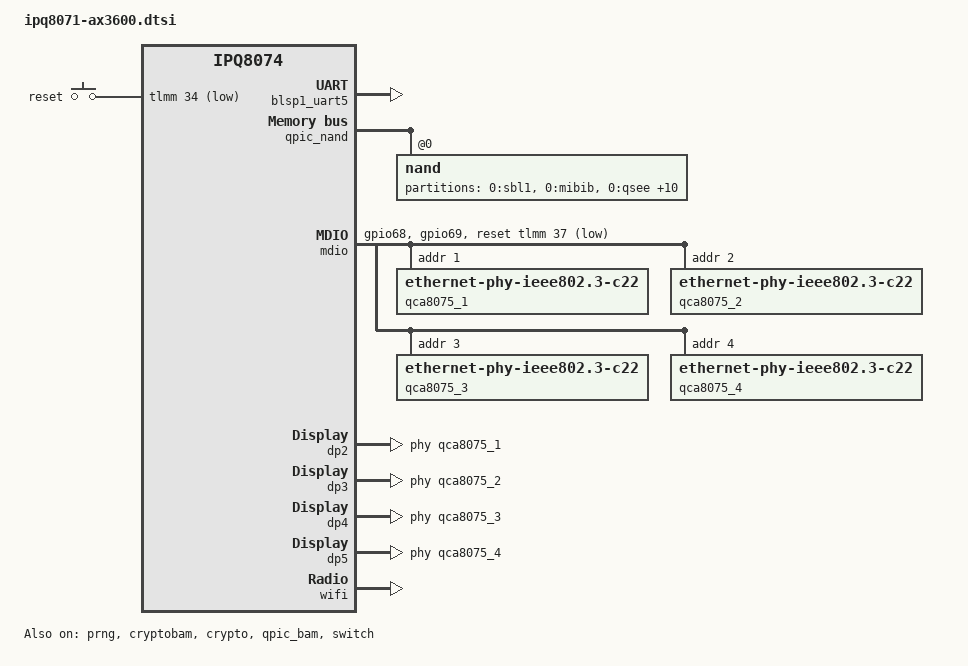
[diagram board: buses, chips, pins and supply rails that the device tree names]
// SPDX-License-Identifier: GPL-2.0-or-later OR MIT
/* Copyright (c) 2021, Robert Marko <robimarko@gmail.com> */

#include "ipq8074-512m.dtsi"
#include "ipq8074-ac-cpu.dtsi"
#include "ipq8074-ess.dtsi"
#include <dt-bindings/gpio/gpio.h>
#include <dt-bindings/input/input.h>

/ {
	aliases {
		serial0 = &blsp1_uart5;
		led-boot = &led_system_yellow;
		led-failsafe = &led_system_yellow;
		led-running = &led_system_blue;
		led-upgrade = &led_system_yellow;
		label-mac-device = &dp2;
	};

	chosen {
		stdout-path = "serial0:115200n8";
		bootargs-append = " root=/dev/ubiblock0_0";
	};

	keys {
		compatible = "gpio-keys";

		reset {
			label = "reset";
			gpios = <&tlmm 34 GPIO_ACTIVE_LOW>;
			linux,code = <KEY_RESTART>;
		};
	};
};

&tlmm {
	mdio_pins: mdio-pins {
		mdc {
			pins = "gpio68";
			function = "mdc";
			drive-strength = <8>;
			bias-pull-up;
		};

		mdio {
			pins = "gpio69";
			function = "mdio";
			drive-strength = <8>;
			bias-pull-up;
		};
	};
};

&blsp1_uart5 {
	status = "okay";
};

&prng {
	status = "okay";
};

&cryptobam {
	status = "okay";
};

&crypto {
	status = "okay";
};

&qpic_bam {
	status = "okay";
};

&qpic_nand {
	status = "okay";

	/*
	 * Bootloader will find the NAND DT node by the compatible and
	 * then "fixup" it by adding the partitions from the SMEM table
	 * using the legacy bindings thus making it impossible for us
	 * to change the partition table or utilize NVMEM for calibration.
	 * So add a dummy partitions node that bootloader will populate
	 * and set it as disabled so the kernel ignores it instead of
	 * printing warnings due to the broken way bootloader adds the
	 * partitions.
	 */
	partitions {
		status = "disabled";
	};

	nand@0 {
		reg = <0>;
		nand-ecc-strength = <4>;
		nand-ecc-step-size = <512>;
		nand-bus-width = <8>;

		partitions {
			compatible = "fixed-partitions";
			#address-cells = <1>;
			#size-cells = <1>;

			partition@0 {
				label = "0:sbl1";
				reg = <0x0 0x100000>;
				read-only;
			};

			partition@100000 {
				label = "0:mibib";
				reg = <0x100000 0x100000>;
				read-only;
			};

			partition@200000 {
				label = "0:qsee";
				reg = <0x200000 0x300000>;
				read-only;
			};

			partition@500000 {
				label = "0:devcfg";
				reg = <0x500000 0x80000>;
				read-only;
			};

			partition@580000 {
				label = "0:rpm";
				reg = <0x580000 0x80000>;
				read-only;
			};

			partition@600000 {
				label = "0:cdt";
				reg = <0x600000 0x80000>;
				read-only;
			};

			partition@680000 {
				label = "0:appsblenv";
				reg = <0x680000 0x80000>;
			};

			partition@700000 {
				label = "0:appsbl";
				reg = <0x700000 0x100000>;
				read-only;
			};

			partition@800000 {
				label = "0:art";
				reg = <0x800000 0x80000>;
				read-only;

				compatible = "nvmem-cells";
				#address-cells = <1>;
				#size-cells = <1>;

				macaddr_dp2: macaddr@6 {
					reg = <0x6 0x6>;
				};

				macaddr_dp3: macaddr@c {
					reg = <0xc 0x6>;
				};

				macaddr_dp4: macaddr@12 {
					reg = <0x12 0x6>;
				};

				macaddr_dp5: macaddr@18 {
					reg = <0x18 0x6>;
				};

				caldata_qca9889: caldata@4d000 {
					reg = <0x33000 0x844>;
				};
			};

			partition@880000 {
				label = "bdata";
				reg = <0x880000 0x80000>;
			};

			partition@900000 {
				/* This is crash + crash_syslog parts combined */
				label = "pstore";
				reg = <0x900000 0x100000>;
			};

			/* Make the first rootfs a dedicated ubi partition for kernel */
			partition@a00000 {
				label = "ubi_kernel";
				reg = <0xa00000 0x23c0000>;
			};

			/* Place the real rootfs in the original second rootfs and
			 * expand it to the end of the nand
			 */
			rootfs: partition@2dc0000 {
				label = "rootfs";
				reg = <0x2dc0000 0xd240000>;
			};
		};
	};
};

&mdio {
	status = "okay";

	pinctrl-0 = <&mdio_pins>;
	pinctrl-names = "default";
	reset-gpios = <&tlmm 37 GPIO_ACTIVE_LOW>;

	qca8075_1: ethernet-phy@1 {
		compatible = "ethernet-phy-ieee802.3-c22";
		reg = <1>;
	};

	qca8075_2: ethernet-phy@2 {
		compatible = "ethernet-phy-ieee802.3-c22";
		reg = <2>;
	};

	qca8075_3: ethernet-phy@3 {
		compatible = "ethernet-phy-ieee802.3-c22";
		reg = <3>;
	};

	qca8075_4: ethernet-phy@4 {
		compatible = "ethernet-phy-ieee802.3-c22";
		reg = <4>;
	};
};

&switch {
	status = "okay";

	switch_lan_bmp = <(ESS_PORT2 | ESS_PORT3 | ESS_PORT4)>; /* lan port bitmap */
	switch_wan_bmp = <ESS_PORT5>; /* wan port bitmap */
	switch_mac_mode = <MAC_MODE_PSGMII>; /* mac mode for uniphy instance0*/

	qcom,port_phyinfo {
		port@1 {
			port_id = <2>;
			phy_address = <1>;
		};
		port@2 {
			port_id = <3>;
			phy_address = <2>;
		};
		port@3 {
			port_id = <4>;
			phy_address = <3>;
		};
		port@4 {
			port_id = <5>;
			phy_address = <4>;
		};
	};
};

&edma {
	status = "okay";
};

&dp2 {
	status = "okay";
	phy-handle = <&qca8075_1>;
	label = "wan";
	nvmem-cells = <&macaddr_dp2>;
	nvmem-cell-names = "mac-address";
};

&dp3 {
	status = "okay";
	phy-handle = <&qca8075_2>;
	label = "lan1";
	nvmem-cells = <&macaddr_dp3>;
	nvmem-cell-names = "mac-address";
};

&dp4 {
	status = "okay";
	phy-handle = <&qca8075_3>;
	label = "lan2";
	nvmem-cells = <&macaddr_dp4>;
	nvmem-cell-names = "mac-address";
};

&dp5 {
	status = "okay";
	phy-handle = <&qca8075_4>;
	label = "lan3";
	nvmem-cells = <&macaddr_dp5>;
	nvmem-cell-names = "mac-address";
};

&wifi {
	status = "okay";

	qcom,ath11k-fw-memory-mode = <1>;
};
